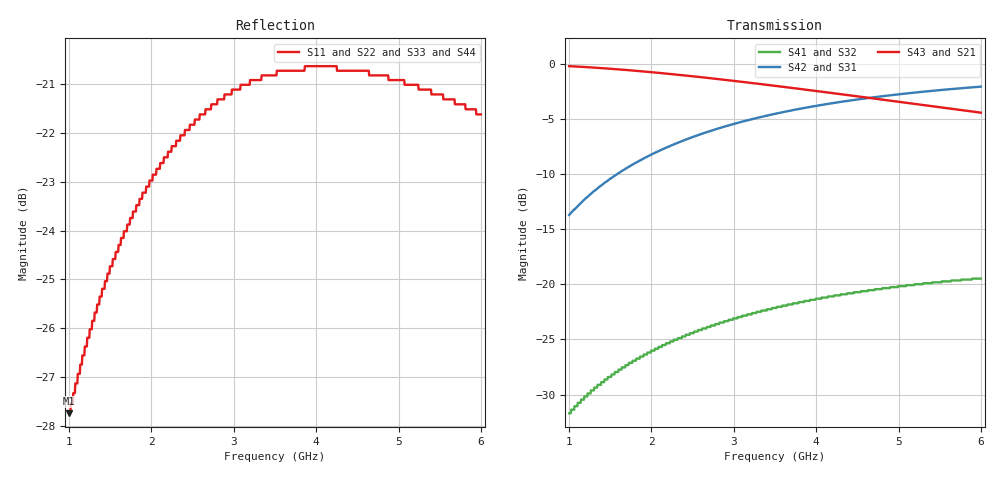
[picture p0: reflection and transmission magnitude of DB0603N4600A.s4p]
!	AVX THIN FILM OPERATION
!	0603 SIZE 3dB 90deg COUPLER P/N DB0603N4600ANTR
!	Created August 2007
!	Network Analyzer HP8720E S.07.64: Feb23, 2000 Serial No.US39172382
# MHZ S MA R 50
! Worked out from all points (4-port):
!   1000 points, 1 GHz to 6 GHz, reference 50 ohm
!   strongest paths, dB at 1 GHz, 2.251 GHz, 3.503 GHz, 4.754 GHz, 6 GHz:
!     S43: -0.2, -1.0, -2.0, -3.2, -4.5
!     S21: -0.2, -1.0, -2.0, -3.2, -4.5
!     S42: -13.7, -7.4, -4.6, -3.0, -2.1
!     S31: -13.7, -7.4, -4.6, -3.0, -2.1
!     S41: -31.7, -25.2, -22.2, -20.4, -19.5
!     S32: -31.7, -25.2, -22.2, -20.4, -19.5
!   lowest |S11| = -27.7 dB at 1 GHz (marker M1), VSWR 1.09, Z = 49 - j3.93 ohm
!   |S11| at or under -10 dB: start of sweep to end of sweep
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1000  0.041 -102.1  0.973 -10.9  0.206 78.8  0.026 59.6
      0.973 -10.9  0.041 -102.1  0.026 59.6  0.206 78.8
      0.206 78.8  0.026 59.6  0.041 -102.1  0.973 -10.9
      0.026 59.6  0.206 78.8  0.973 -10.9  0.041 -102.1
1330.33  0.052 -109.1  0.957 -14.4  0.269 75.3  0.034 50.0
         0.957 -14.4  0.052 -109.1  0.034 50.0  0.269 75.3
         0.269 75.3  0.034 50.0  0.052 -109.1  0.957 -14.4
         0.034 50.0  0.269 75.3  0.957 -14.4  0.052 -109.1
1765.766  0.065 -117.1  0.93 -18.7  0.348 70.9  0.044 38.2
          0.93 -18.7  0.065 -117.1  0.044 38.2  0.348 70.9
          0.348 70.9  0.044 38.2  0.065 -117.1  0.93 -18.7
          0.044 38.2  0.348 70.9  0.93 -18.7  0.065 -117.1
2226.226  0.076 -124.6  0.897 -23.0  0.423 66.5  0.055 26.5
          0.897 -23.0  0.076 -124.6  0.055 26.5  0.423 66.5
          0.423 66.5  0.055 26.5  0.076 -124.6  0.897 -23.0
          0.055 26.5  0.423 66.5  0.897 -23.0  0.076 -124.6
2826.827  0.086 -133.0  0.849 -28.1  0.51 61.3  0.067 12.8
          0.849 -28.1  0.086 -133.0  0.067 12.8  0.51 61.3
          0.51 61.3  0.067 12.8  0.086 -133.0  0.849 -28.1
          0.067 12.8  0.51 61.3  0.849 -28.1  0.086 -133.0
4223.223  0.093 -147.4  0.733 -37.9  0.664 51.5  0.089 -12.4
          0.733 -37.9  0.093 -147.4  0.089 -12.4  0.664 51.5
          0.664 51.5  0.089 -12.4  0.093 -147.4  0.733 -37.9
          0.089 -12.4  0.664 51.5  0.733 -37.9  0.093 -147.4
6000  0.083 -157.4  0.599 -47.1  0.786 42.4  0.106 -33.8
      0.599 -47.1  0.083 -157.4  0.106 -33.8  0.786 42.4
      0.786 42.4  0.106 -33.8  0.083 -157.4  0.599 -47.1
      0.106 -33.8  0.786 42.4  0.599 -47.1  0.083 -157.4
